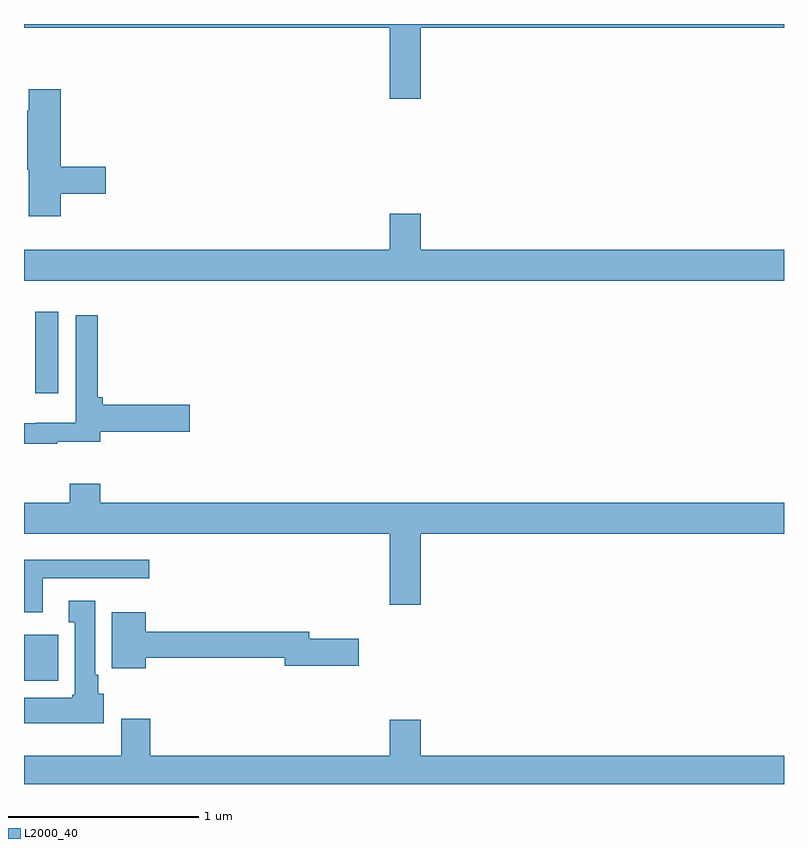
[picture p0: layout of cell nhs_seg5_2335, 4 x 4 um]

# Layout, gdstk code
import gdstk
lib = gdstk.Library(unit=1e-6, precision=1e-09)
def R(c, l, rs):  # rectangles x0, y0, x1, y1
    for r in rs: c.add(gdstk.rectangle(r[:2], r[2:], *l))
def P(c, l, *ps):  # polygons
    for p in ps: c.add(gdstk.Polygon(p, *l))
L2000_40 = (2000, 40)

nhs_seg5_2335 = lib.new_cell('nhs_seg5_2335')
R(nhs_seg5_2335, L2000_40, [(247,833.342,247.18,833.584), (247.058,834.855,247.18,835.285)])
P(nhs_seg5_2335, L2000_40, [(249.088,836.78),(251,836.78),(251,836.799),(247,836.799),(247,836.78),(248.924,836.78),(248.924,836.406),(249.088,836.406)],
  [(247.193,835.906),(247.429,835.906),(247.429,836.048),(247.193,836.048),(247.193,836.455),(247.025,836.455),(247.025,836.342),(247.018,836.342),(247.018,836.031),(247.025,836.031),(247.025,835.788),(247.193,835.788)],
  [(251,835.612),(249.088,835.612),(249.088,835.801),(248.924,835.801),(248.924,835.612),(247,835.612),(247,835.448),(251,835.448)],
  [(247.175,834.601),(247.402,834.601),(247.402,834.652),(247.873,834.652),(247.873,834.794),(247.415,834.794),(247.415,834.835),(247.388,834.835),(247.388,835.267),(247.272,835.267),(247.272,834.7),(247.062,834.7),(247.062,834.699),(247,834.699),(247,834.591),(247.175,834.591)],
  [(249.088,834.116),(251,834.116),(251,834.28),(247.4,834.28),(247.4,834.379),(247.24,834.379),(247.24,834.28),(247,834.28),(247,834.116),(248.924,834.116),(248.924,833.742),(249.088,833.742)],
  [(247.099,833.883),(247.66,833.883),(247.66,833.98),(247,833.98),(247,833.702),(247.099,833.702)],
  [(247.42,833.274),(247.39,833.274),(247.39,833.374),(247.375,833.374),(247.375,833.764),(247.235,833.764),(247.235,833.651),(247.268,833.651),(247.268,833.268),(247.255,833.268),(247.255,833.254),(247,833.254),(247,833.12),(247.42,833.12)],
  [(247.642,833.464),(248.372,833.464),(248.372,833.422),(248.761,833.422),(248.761,833.564),(248.5,833.564),(248.5,833.6),(247.642,833.6),(247.642,833.704),(247.463,833.704),(247.463,833.408),(247.642,833.408)],
  [(251,832.948),(249.088,832.948),(249.088,833.137),(248.924,833.137),(248.924,832.948),(247.664,832.948),(247.664,833.143),(247.511,833.143),(247.511,832.948),(247,832.948),(247,832.799),(251,832.799)])

lib.write_gds('nhs_seg5_2335.gds')
